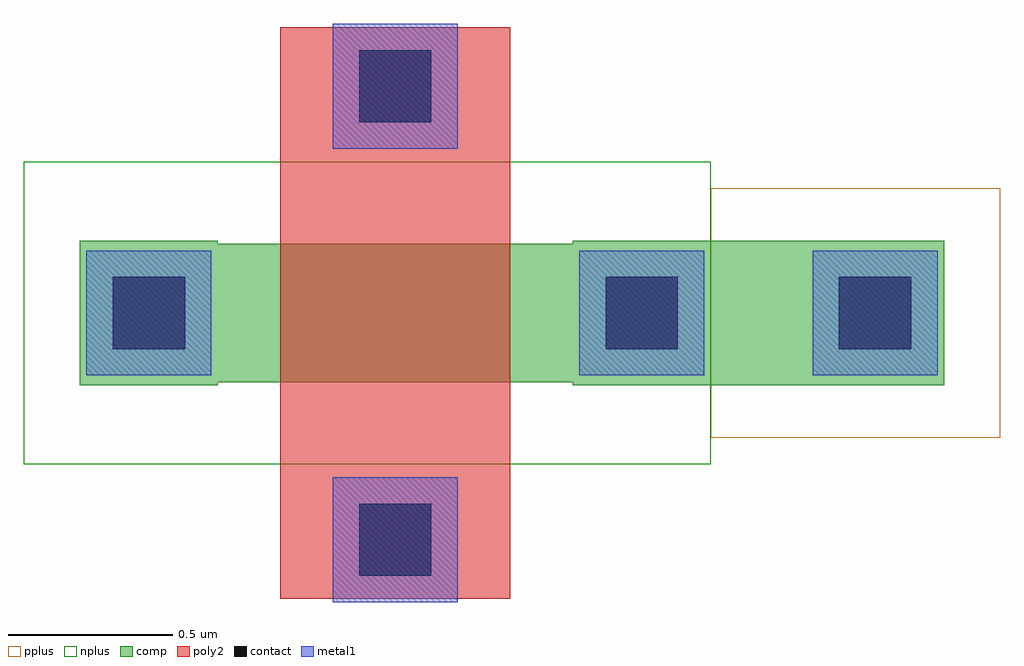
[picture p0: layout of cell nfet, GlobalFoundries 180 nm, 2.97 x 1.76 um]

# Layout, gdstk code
import gdstk
lib = gdstk.Library(unit=1e-6, precision=1e-09)
def R(c, l, rs):  # rectangles x0, y0, x1, y1
    for r in rs: c.add(gdstk.rectangle(r[:2], r[2:], *l))
def P(c, l, *ps):  # polygons
    for p in ps: c.add(gdstk.Polygon(p, *l))
comp = (22, 0)
poly2 = (30, 0)
pplus = (31, 0)
nplus = (32, 0)
contact = (33, 0)
metal1 = (34, 0)

nfet = lib.new_cell('nfet')
P(nfet, comp, [(-0.42,-0.01),(-0.42,0.43),(0,0.43),(0,0.42),(1.08,0.42),(1.08,0.43),(2.21,0.43),(2.21,-0.01),(1.08,-0.01),(1.08,0),(0,0),(0,-0.01)])
R(nfet, poly2, [(0.19,-0.66,0.89,1.08)])
R(nfet, pplus, [(1.5,-0.17,2.38,0.59)])
R(nfet, nplus, [(-0.59,-0.25,1.5,0.67)])
R(nfet, contact, [(0.43,-0.59,0.65,-0.37), (-0.32,0.1,-0.1,0.32), (1.18,0.1,1.4,0.32), (1.89,0.1,2.11,0.32), (0.43,0.79,0.65,1.01)])
R(nfet, metal1, [(0.35,-0.67,0.73,-0.29), (-0.4,0.02,-0.02,0.4), (1.1,0.02,1.48,0.4), (1.81,0.02,2.19,0.4), (0.35,0.71,0.73,1.09)])

lib.write_gds('nfet.gds')
